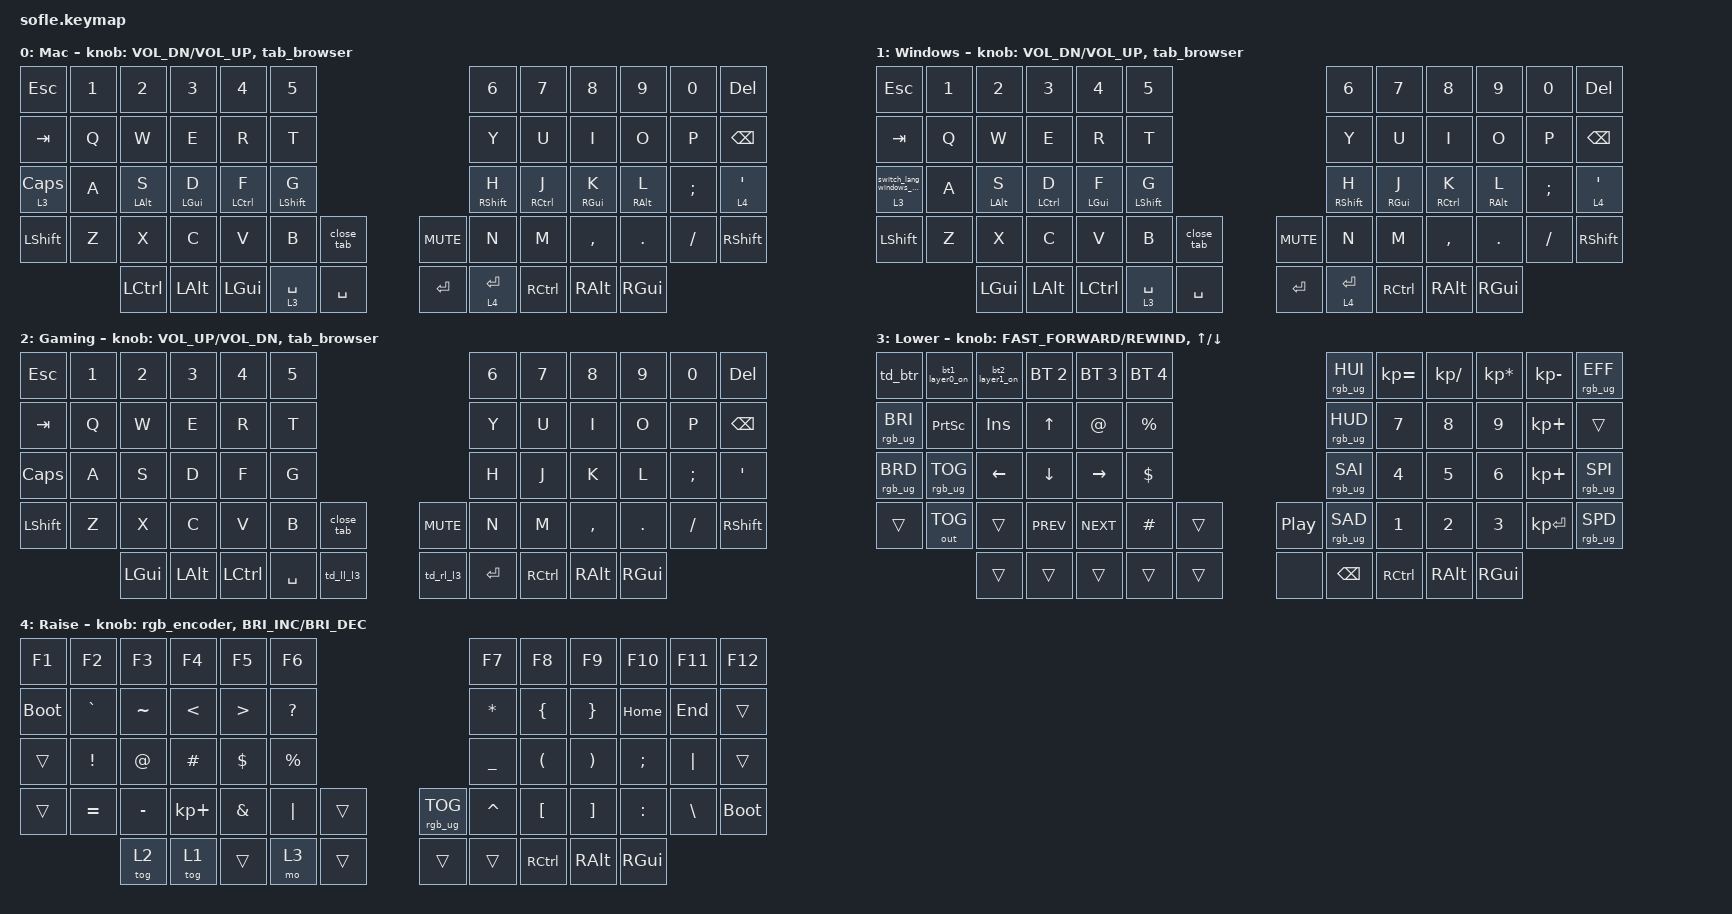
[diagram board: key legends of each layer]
/*
 * Copyright (c) 2020 The ZMK Contributors
 *
 * SPDX-License-Identifier: MIT
 */

#include <behaviors.dtsi>
#include <dt-bindings/zmk/keys.h>
#include <dt-bindings/zmk/bt.h>
#include <dt-bindings/zmk/rgb.h>
#include <dt-bindings/zmk/outputs.h>

/ {
    macros {
        // Macro: BT profile 1 + turn layer 0 ON
        bt1_layer0_on: bt1_layer0_on {
            label = "BT1_LAYER0_ON";
            compatible = "zmk,behavior-macro";
            #binding-cells = <0>;
            wait-ms = <0>;
            tap-ms = <0>;
            bindings = <
                &bt BT_SEL 0        // select Bluetooth profile 1
                &tog_off 1           // turn layer 0 ON
            >;
        };

        // Macro: BT profile 2 + turn layer 1 ON
        bt2_layer1_on: bt2_layer1_on {
            label = "BT2_LAYER1_ON";
            compatible = "zmk,behavior-macro";
            #binding-cells = <0>;
            wait-ms = <0>;
            tap-ms = <0>;
            bindings = <
                &bt BT_SEL 1        // select Bluetooth profile 2
                &tog_on 1           // turn layer 1 ON
            >;
        };

        // Browser Controls
        tab_right: tab_right {
            label = "TAB_RIGHT";
            compatible = "zmk,behavior-macro";
            #binding-cells = <0>;
            wait-ms = <0>;
            tap-ms = <0>;
            bindings
                = <&macro_press   &kp LCTRL>
                , <&macro_tap     &kp TAB>
                , <&macro_release &kp LCTRL>;
        };
        tab_left: tab_left {
            label = "TAB_LEFT";
            compatible = "zmk,behavior-macro";
            #binding-cells = <0>;
            wait-ms = <0>;
            tap-ms = <0>;
            bindings
                = <&macro_press   &kp LCTRL &kp LSHFT>
                , <&macro_tap     &kp TAB>
            , <&macro_release &kp LCTRL &kp LSHFT>;
        };
        close_tab: close_tab {
        label = "CLOSE_TAB";
        compatible = "zmk,behavior-macro";
        #binding-cells = <0>;
        wait-ms = <0>;
        tap-ms = <0>;
        bindings
            = <&macro_press   &kp LCTRL>
            , <&macro_tap     &kp W>
            , <&macro_release &kp LCTRL>;
        };
    };
};

/ {
    combos {
        compatible = "zmk,combos";

        combo_backspace {
            timeout-ms = <50>;
            key-positions = <31 32>;
            bindings = <&kp BSPC>;
            layers = <0 1>;
        };
    };
};

// Mod Morphs, Encoder, Tap-Dances
/ {
    behaviors {

    alt_d_macro: alt_d_macro {
            compatible = "zmk,behavior-macro";
            label = "ALT_D_MACRO";
            #binding-cells = <0>;

            bindings =
                <&macro_press   &kp LALT>,
                <&macro_tap     &kp D>,
                <&macro_release &kp LALT>;
        };
    
    d_ctrl_morph: d_ctrl_morph {
            compatible = "zmk,behavior-mod-morph";
            label = "D_CTRL_MORPH";
            #binding-cells = <0>;

            mods = <(MOD_LCTL | MOD_RCTL)>;
            bindings = <&kp D>, <&alt_d_macro>;
        };
    
    // Toggle Layer ON only
    tog_on: toggle_layer_on_only {
        compatible = "zmk,behavior-toggle-layer";
        #binding-cells = <1>;      // layer number
        display-name = "Toggle Layer On";
        toggle-mode = "on";        // only turns layer ON
        locking;
    };

    // Toggle Layer OFF only
    tog_off: toggle_layer_off_only {
        compatible = "zmk,behavior-toggle-layer";
        #binding-cells = <1>;      // layer number
        display-name = "Toggle Layer Off";
        toggle-mode = "off";       // only turns layer OFF
        locking;
    };

    // Mod Morph
    // RGB
        rgb_bri_sat_inc: rgb_bri_sat_inc {
            compatible = "zmk,behavior-mod-morph";
            label = "RGB_BRIGHTNESS_SATURATION_INCREASE";
            #binding-cells = <0>;
            bindings = <&rgb_ug RGB_SAI>, <&rgb_ug RGB_BRI>;
            mods = <(MOD_LALT|MOD_RALT)>;
        };
        rgb_bri_sat_dec: rgb_bri_sat_dec {
            compatible = "zmk,behavior-mod-morph";
            label = "RGB_BRIGHTNESS_SATURATION_DECREASE";
            #binding-cells = <0>;
            bindings = <&rgb_ug RGB_SAD>, <&rgb_ug RGB_BRD>;
            mods = <(MOD_LALT|MOD_RALT)>;
        };
        rgb_inc: rgb_inc {
            compatible = "zmk,behavior-mod-morph";
            label = "RGB_INCREASE";
            #binding-cells = <0>;
            bindings = <&rgb_ug RGB_HUI>, <&rgb_bri_sat_inc>;
            mods = <(MOD_LSFT|MOD_RSFT|MOD_LCTL|MOD_RCTL)>;
        };
        rgb_dec: rgb_dec {
            compatible = "zmk,behavior-mod-morph";
            label = "RGB_DECREASE";
            #binding-cells = <0>;
            bindings = <&rgb_ug RGB_HUD>, <&rgb_bri_sat_dec>;
            mods = <(MOD_LSFT|MOD_RSFT)>;
        };
        // Encoder
        rgb_encoder: rgb_encoder {
            compatible = "zmk,behavior-sensor-rotate";
            label = "RGB_ENCODER";
            #sensor-binding-cells = <0>;
            bindings = <&rgb_inc>, <&rgb_dec>;
        };
        tab_browser: tab_browser {
            compatible = "zmk,behavior-sensor-rotate";
            label = "TAB_BROWSER";
            #sensor-binding-cells = <0>;
            bindings = <&tab_left>, <&tab_right>;
        };
        // Config 
        td_btr: td_btr {
            compatible = "zmk,behavior-tap-dance";
            label = "TAP_DANCE_BLUE_TOOTH_RELEASE";
            #binding-cells = <0>;
            tapping-term-ms = <200>;
            bindings = <&kp ESC>, <&bt BT_CLR>;
        };
        td_ll_l3: td_ll_l3 {
            compatible = "zmk,behavior-tap-dance";
            label = "TAP_LEFT_LAYER_LAYER_3";
            #binding-cells = <0>;
            tapping-term-ms = <200>;
            bindings = <&mo 3>, <&sl 3>;
        };
        td_rl_l3: td_rl_l3 {
            compatible = "zmk,behavior-tap-dance";
            label = "TAP_RIGHT_LAYER_LAYER_3";
            #binding-cells = <0>;
            tapping-term-ms = <200>;
            bindings = <&mo 4>, <&sl 3>;
        };
        // Home row mods (timeless configuration)
        hm: homerow_mods {
            compatible = "zmk,behavior-hold-tap";
            label = "HOMEROW_MODS";
            #binding-cells = <2>;
            tapping-term-ms = <280>;
            quick-tap-ms = <175>;
            require-prior-idle-ms = <150>;
            flavor = "balanced";
            bindings = <&kp>, <&kp>;
        };
        // Mac - Windows shortcuts 
        switch_lang_windows_caps: switch_lang_windows_caps {
            compatible = "zmk,behavior-macro";
            #binding-cells = <0>;
            bindings = <
                &macro_press   &kp LALT
                &macro_press   &kp LSHIFT
                &macro_release &kp LSHIFT
                &macro_release &kp LALT
            >;
        };

        // Balanced layer-tap for standard keys (Caps Lock, Quote)
        lt_b: layer_tap_balanced {
            compatible = "zmk,behavior-hold-tap";
            label = "LAYER_TAP_BALANCED";
            #binding-cells = <2>;
            flavor = "balanced";
            tapping-term-ms = <200>;
            quick-tap-ms = <175>;
            bindings = <&mo>, <&kp>;
        };

        // Balanced layer-tap for Windows language switch macro
        lt_lang_l3: lt_lang_l3 {
            compatible = "zmk,behavior-hold-tap";
            label = "LT_LANG_L3";
            #binding-cells = <2>;
            flavor = "balanced";
            tapping-term-ms = <200>;
            quick-tap-ms = <175>;
            bindings = <&mo>, <&switch_lang_windows_caps>;
        };
    };
    keymap {
        compatible = "zmk,keymap";

        default_layer {
// ------------------------------------------------------------------------------------------------------------
// | ESC  |  1  |  2  |  3   |  4   |  5   |                    |  6   |  7   |  8   |  9   |  0   | Del   |
// | Tab  |  Q  |  W  |  E   |  R   |  T   |                    |  Y   |  U   |  I   |  O   |  P   | Bksp |
// | Caps |  A  |  S  |  D   |  F   |  G   |                    |  H   |  J   |  K   |  L   |  ;   |  '   |
// |Shift |  Z  |  X  |  C   |  V   |  B   | CloseTab |   | Mute  |  N   |  M   |  ,   |  .   |  /   |Shift |
//               | Ctrl | Alt | GUI | Space/Mo3 | Space |        | Enter | Enter/Mo4 | Ctrl | Alt | GUI |
            display-name = "Mac";
            bindings = <
&kp ESC &kp N1 &kp N2     &kp N3          &kp N4          &kp N5                                           &kp N6            &kp N7          &kp N8          &kp N9   &kp N0   &kp DEL
&kp TAB &kp Q  &kp W      &kp E           &kp R           &kp T                                            &kp Y             &kp U           &kp I           &kp O    &kp P    &kp BSPC
&lt_b 3 CLCK   &kp A  &hm LALT S &hm LGUI D      &hm LCTRL F     &hm LSHFT G                                      &hm RSHFT H       &hm RCTRL J     &hm RGUI K      &hm RALT L &kp SEMI &lt_b 4 SQT
&kp LSHIFT   &kp Z  &kp X      &kp C           &kp V           &kp B &close_tab &kp C_MUTE                &kp N             &kp M           &kp COMMA       &kp DOT  &kp FSLH &kp RSHIFT
                  &kp LCTRL  &kp LALT        &kp LGUI        &lt 3 SPACE &kp SPACE &kp RET   &lt 4 RET  &kp RCTRL         &kp RALT        &kp RGUI
            >;

            sensor-bindings = <&inc_dec_kp C_VOL_DN C_VOL_UP &tab_browser>;
        };

        windows_layer {
// ------------------------------------------------------------------------------------------------------------
// | ESC  |  1  |  2  |  3   |  4   |  5   |                    |  6   |  7   |  8   |  9   |  0   | Del   |
// | Tab  |  Q  |  W  |  E   |  R   |  T   |                    |  Y   |  U   |  I   |  O   |  P   | Bksp |
// | Lang |  A  |  S  |  D   |  F   |  G   |                    |  H   |  J   |  K   |  L   |  ;   |  '   |
// |Shift |  Z  |  X  |  C   |  V   |  B   | CloseTab |   | Mute  |  N   |  M   |  ,   |  .   |  /   |Shift |
//               | GUI | Alt | Ctrl | Space/Mo3 | Space |       | Enter | Enter/Mo4 | Ctrl | Alt | GUI |
            display-name = "Windows";
            bindings = <
&kp ESC &kp N1 &kp N2     &kp N3          &kp N4          &kp N5                                           &kp N6            &kp N7          &kp N8          &kp N9   &kp N0   &kp DEL
&kp TAB &kp Q  &kp W      &kp E           &kp R           &kp T                                            &kp Y             &kp U           &kp I           &kp O    &kp P    &kp BSPC
&lt_lang_l3 3 0   &kp A  &hm LALT S &hm LCTRL D     &hm LGUI F      &hm LSHFT G                                      &hm RSHFT H       &hm RGUI J      &hm RCTRL K     &hm RALT L &kp SEMI &lt_b 4 SQT
&kp LSHIFT   &kp Z  &kp X      &kp C           &kp V           &kp B &close_tab &kp C_MUTE                &kp N             &kp M           &kp COMMA       &kp DOT  &kp FSLH &kp RSHIFT
                &kp LGUI   &kp LALT        &kp LCTRL       &lt 3 SPACE &kp SPACE &kp RET   &lt 4 RET  &kp RCTRL         &kp RALT        &kp RGUI
            >;

            sensor-bindings = <&inc_dec_kp C_VOL_DN C_VOL_UP &tab_browser>;
        };

    gaming {
// ------------------------------------------------------------------------------------------------------------
// | ESC  |  1  |  2  |  3   |  4   |  5   |                    |  6   |  7   |  8   |  9   |  0   | Del   |
// | Tab  |  Q  |  W  |  E   |  R   |  T   |                    |  Y   |  U   |  I   |  O   |  P   | Bksp |
// | Caps |  A  |  S  |  D   |  F   |  G   |                    |  H   |  J   |  K   |  L   |  ;   |  '   |
// |Shift |  Z  |  X  |  C   |  V   |  B   | CloseTab |   | Mute  |  N   |  M   |  ,   |  .   |  /   |Shift |
//               | GUI | Alt | Ctrl | Space | lower |        | Enter | Raise | Ctrl | Alt | GUI |
            display-name = "Gaming";
            bindings = <
&kp ESC &kp N1 &kp N2     &kp N3   &kp N4    &kp N5                             &kp N6     &kp N7    &kp N8    &kp N9   &kp N0   &kp DEL
&kp TAB &kp Q  &kp W      &kp E    &kp R     &kp T                              &kp Y      &kp U     &kp I     &kp O    &kp P    &kp BSPC
&kp CLCK   &kp A  &kp S      &kp D    &kp F     &kp G                              &kp H      &kp J     &kp K     &kp L    &kp SEMI &kp SQT
&kp LSHIFT   &kp Z  &kp X      &kp C    &kp V     &kp B &close_tab &kp C_MUTE  &kp N      &kp M     &kp COMMA &kp DOT  &kp FSLH &kp RSHIFT
                &kp LGUI &kp LALT &kp LCTRL  &kp SPACE &td_ll_l3 &td_rl_l3 &kp RET  &kp RCTRL &kp RALT  &kp RGUI
            >;

            sensor-bindings = <&inc_dec_kp C_VOL_UP C_VOL_DN &tab_browser>;
        };

        lower_layer {
// ------------------------------------------------------------------------------------------------------------
// | BTClr | BT1  | BT2  | BT3  | BT4  | BT5  |                    | Hue+ |  =   |  /   |  *   |  -   | Eff+ |
// | B+    | Prt  | Ins  |  ↑   |  @   |  %   |                    | Hue- |  7   |  8   |  9   |  +   | Bksp |
// | B-    | RGB  |  ←   |  ↓   |  →   |  $   |                    | Sat+ |  4   |  5   |  6   |  +   | Spd+ |
// |Task   | USB  |      | Prev | Next |  #   | PL/PS |     |      | Sat- |  1   |  2   |  3   | Enter | Spd- |
//                |      |       |       |      |      |        | none  | Bksp | Ctrl | Alt | GUI |
            display-name = "Lower";
            bindings = <
&td_btr         &bt1_layer0_on    &bt2_layer1_on  &bt BT_SEL 2  &bt BT_SEL 3 &bt BT_SEL 4                       &rgb_ug RGB_HUI &kp KP_EQUAL &kp KP_DIVIDE &kp KP_MULTIPLY &kp KP_MINUS &rgb_ug RGB_EFF
&rgb_ug RGB_BRI &kp PSCRN       &kp INS      &kp UP        &kp AT       &kp PRCNT                          &rgb_ug RGB_HUD &kp N7       &kp N8        &kp N9          &kp KP_PLUS  &trans
&rgb_ug RGB_BRD &rgb_ug RGB_TOG &kp LEFT     &kp DOWN      &kp RIGHT    &kp DLLR                           &rgb_ug RGB_SAI &kp N4       &kp N5        &kp N6          &kp KP_PLUS  &rgb_ug RGB_SPI
&trans            &out OUT_TOG    &trans       &kp C_PREV    &kp C_NEXT   &kp HASH   &trans &kp C_PLAY_PAUSE  &rgb_ug RGB_SAD &kp N1       &kp N2        &kp N3          &kp KP_ENTER &rgb_ug RGB_SPD
                                &trans       &trans        &trans       &trans    &trans            &none    &kp BSPC        &kp RCTRL &kp RALT  &kp RGUI 
            >;

            sensor-bindings = <&inc_dec_kp C_FAST_FORWARD C_REWIND &inc_dec_kp UP DOWN>;
        };

        raise_layer {
// ------------------------------------------------------------------------------------------------------------
// | F1   | F2   | F3   | F4   | F5   | F6   |                    | F7   | F8   | F9   | F10  | F11  | F12  |
// |Boot  |  `   |  ~   |  <   |  >   |  ?   |                    |  *   |  {   |  }   | Home | End  |      |
// |      |  !   |  @   |  #   |  $   |  %   |                    |  _   |  (   |  )   |  ;   |  |   |Color |
// |      |  =   |  -   |  +   |  &   |  |   | RGB    |       |      | ^    |  [   |  ]   |  :   |  \   | Power |
//               | Tog2 | Tog1 |      | Mo3  |        |       |       | Ctrl | Alt  | GUI |
            display-name = "Raise";            
bindings = <
&kp F1    &kp F2    &kp F3    &kp F4      &kp F5    &kp F6                              &kp F7    &kp F8    &kp F9    &kp F10   &kp F11   &kp F12
&bootloader    &kp GRAVE &kp TILDE &kp LT      &kp GT    &kp QMARK                           &kp ASTRK &kp LBRC  &kp RBRC  &kp HOME  &kp END   &trans
&trans    &kp EXCL  &kp AT    &kp HASH    &kp DLLR  &kp PRCNT                           &kp UNDER &kp LPAR  &kp RPAR  &kp SEMI  &kp PIPE  &trans
&trans    &kp EQUAL &kp MINUS &kp KP_PLUS &kp AMPS  &kp PIPE     &trans &rgb_ug RGB_TOG  &kp CARET &kp LBKT  &kp RBKT  &kp COLON &kp BSLH  &bootloader
                    &tog 2    &tog 1    &trans    &mo 3     &trans           &trans  &trans    &kp RCTRL &kp RALT  &kp RGUI
            >;

            sensor-bindings = <&rgb_encoder &inc_dec_kp C_BRI_INC C_BRI_DEC>;
        };
    };
};
